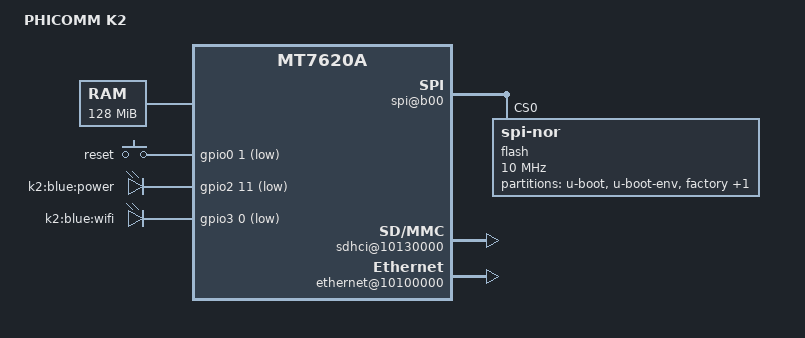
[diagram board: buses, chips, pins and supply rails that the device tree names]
/dts-v1/;

/include/ "mt7620a.dtsi"

/ {
	compatible = "phicomm,k2", "ralink,mt7620a-soc";
	model = "PHICOMM K2";

	memory@0 {
		device_type = "memory";
		reg = <0x0 0x8000000>; /* 128MB RAM */
	};

	chosen {
		bootargs = "console=ttyS0,57600";
	};

	palmbus@10000000 {
		gpio0: gpio@600 {
			compatible = "ralink,mt7620a-gpio", "ralink,rt2880-gpio";
			reg = <0x600 0x34>;

			interrupt-parent = <&intc>;
			interrupts = <6>;

			#gpio-cells = <2>;
			gpio-controller;
		};

		gpio1: gpio@638 {
			compatible = "ralink,mt7620a-gpio", "ralink,rt2880-gpio";
			reg = <0x638 0x24>;

			interrupt-parent = <&intc>;
			interrupts = <6>;

			#gpio-cells = <2>;
			gpio-controller;
		};

		gpio2: gpio@660 {
			compatible = "ralink,mt7620a-gpio", "ralink,rt2880-gpio";
			reg = <0x660 0x24>;

			interrupt-parent = <&intc>;
			interrupts = <6>;

			#gpio-cells = <2>;
			gpio-controller;
		};

		spi@b00 {
			compatible = "ralink,mt7620a-spi", "ralink,rt2880-spi";
			reg = <0xb00 0x60>;

			#address-cells = <1>;
			#size-cells = <1>;

			pinctrl-names = "default";
			pinctrl-0 = <&spi_pins>;

			status = "okay";

			flash@0 {
				compatible = "jedec,spi-nor";
				reg = <0>;
				spi-max-frequency = <10000000>;

				partitions {
					compatible = "fixed-partitions";
					#address-cells = <1>;
					#size-cells = <1>;

					partition@0 {
						label = "u-boot";
						reg = <0x0 0x30000>;
						read-only;
					};

					partition@30000 {
						label = "u-boot-env";
						reg = <0x30000 0x10000>;
						read-only;
					};

					factory: partition@40000 {
						label = "factory";
						reg = <0x40000 0x10000>;
						read-only;
					};

					partition@50000 {
						label = "firmware";
						reg = <0x50000 0xfb0000>;
					};
				};
			};
		};
	};

	sdhci@10130000 {
		compatible = "ralink,mt7620a-sdhci";
		reg = <0x10130000 0x1000>;

		status = "okay";
	};

	ethernet@10100000 {
		status = "okay";
		mtd-mac-address = <&factory 0x4>;

		mediatek,portmap = "wllll";
	};

	wmac@10180000 {
		ralink,mtd-eeprom = <&factory 0>;
		ralink,led-polarity = <1>;
	};

	gpio-keys-polled {
		compatible = "gpio-keys-polled";
		#address-cells = <1>;
		#size-cells = <0>;
		poll-interval = <20>;

		reset {
			label = "reset";
			gpios = <&gpio0 1 1>;
			linux,code = <0x198>;
		};
	};

	gpio-leds {
		compatible = "gpio-leds";

		power {
			label = "k2:blue:power";
			gpios = <&gpio2 11 1>;
			default-state = "on";
		};

		wifi {
			label = "k2:blue:wifi";
			gpios = <&gpio3 0 1>;
		};
	};

	nand@1010000 {
		status = "disabled";
	};
};

&pinctrl {
	state_default: pinctrl0 {
		gpio {
			ralink,group = "i2c", "uartf", "spi", "rgmii1", "wled";
			ralink,function = "gpio";
		};
	};

	spi_pins: spi {
		ralink,group = "spi";
		ralink,function = "spi";
	};
};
